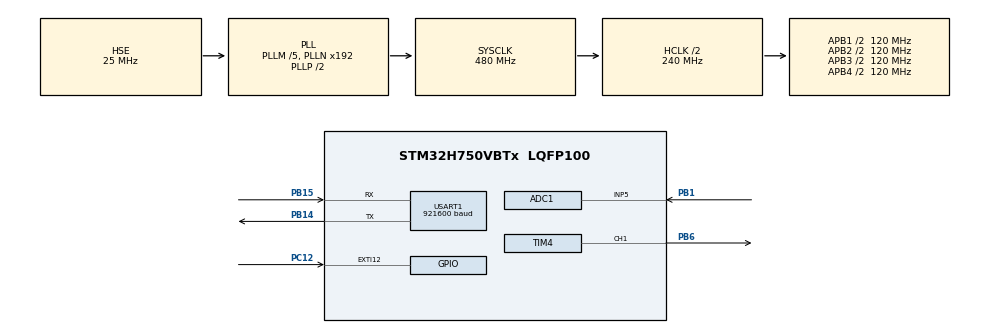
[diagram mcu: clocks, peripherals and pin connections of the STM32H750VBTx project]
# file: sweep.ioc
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ADC1.Channel-0\#ChannelRegularConversion=ADC_CHANNEL_5
ADC1.ClockPrescaler=ADC_CLOCK_ASYNC_DIV10
ADC1.ContinuousConvMode=ENABLE
ADC1.ConversionDataManagement=ADC_CONVERSIONDATA_DMA_ONESHOT
ADC1.EOCSelection=ADC_EOC_SEQ_CONV
ADC1.Mode=ADC_MODE_INDEPENDENT
ADC1.NbrOfConversionFlag=1
ADC1.OffsetNumber-0\#ChannelRegularConversion=ADC_OFFSET_NONE
ADC1.OffsetSignedSaturation-0\#ChannelRegularConversion=DISABLE
ADC1.Overrun=ADC_OVR_DATA_OVERWRITTEN
ADC1.Rank-0\#ChannelRegularConversion=1
ADC1.SamplingTime-0\#ChannelRegularConversion=ADC_SAMPLETIME_1CYCLE_5
ADC1.master=1
Dma.ADC1.0.Direction=DMA_PERIPH_TO_MEMORY
Dma.ADC1.0.EventEnable=DISABLE
Dma.ADC1.0.FIFOMode=DMA_FIFOMODE_DISABLE
Dma.ADC1.0.Instance=DMA1_Stream0
Dma.ADC1.0.MemDataAlignment=DMA_MDATAALIGN_WORD
Dma.ADC1.0.MemInc=DMA_MINC_ENABLE
Dma.ADC1.0.Mode=DMA_NORMAL
Dma.ADC1.0.PeriphDataAlignment=DMA_PDATAALIGN_WORD
Dma.ADC1.0.PeriphInc=DMA_PINC_DISABLE
Dma.ADC1.0.Polarity=HAL_DMAMUX_REQ_GEN_RISING
Dma.ADC1.0.Priority=DMA_PRIORITY_LOW
Dma.ADC1.0.RequestNumber=1
Dma.ADC1.0.SignalID=NONE
Dma.ADC1.0.SyncEnable=DISABLE
Dma.ADC1.0.SyncPolarity=HAL_DMAMUX_SYNC_NO_EVENT
Dma.ADC1.0.SyncRequestNumber=1
Dma.ADC1.0.SyncSignalID=NONE
Dma.Request0=ADC1
LPTIM1.ClockPrescaler=LPTIM_PRESCALER_DIV128
LPTIM2.ClockPrescaler=LPTIM_PRESCALER_DIV128
Mcu.Family=STM32H7
Mcu.Name=STM32H750VBTx
Mcu.Package=LQFP100
NVIC.DMA1_Stream0_IRQn=true\:0\:0\:true\:false\:true\:false\:true
NVIC.EXTI15_10_IRQn=true\:14\:0\:true\:false\:true\:true\:true
NVIC.LPTIM1_IRQn=true\:10\:0\:true\:false\:true\:true\:true
NVIC.LPTIM2_IRQn=true\:13\:0\:true\:false\:true\:true\:true
NVIC.PriorityGroup=NVIC_PRIORITYGROUP_4
PB1.Signal=ADCx_INP5
PB14.Mode=Asynchronous
PB14.Signal=USART1_TX
PB15.Mode=Asynchronous
PB15.Signal=USART1_RX
PB6.Signal=S_TIM4_CH1
PC12.Signal=GPXTI12
PH0-OSC_IN\ (PH0).Mode=HSE-External-Oscillator
PH0-OSC_IN\ (PH0).Signal=RCC_OSC_IN
PH1-OSC_OUT\ (PH1).Mode=HSE-External-Oscillator
PH1-OSC_OUT\ (PH1).Signal=RCC_OSC_OUT
ProjectManager.HeapSize=0x1000
ProjectManager.StackSize=0x20000
ProjectManager.TargetToolchain=MDK-ARM V5
RCC.ADCCLockSelection=RCC_ADCCLKSOURCE_PLL3
RCC.ADCFreq_Value=51200000
RCC.APB1Freq_Value=120000000
RCC.APB2Freq_Value=120000000
RCC.APB3Freq_Value=120000000
RCC.APB4Freq_Value=120000000
RCC.CKPERSourceSelection=RCC_CLKPSOURCE_CSI
RCC.CortexFreq_Value=480000000
RCC.D1PPRE=RCC_APB3_DIV2
RCC.D2PPRE1=RCC_APB1_DIV2
RCC.D2PPRE2=RCC_APB2_DIV2
RCC.D3PPRE=RCC_APB4_DIV2
RCC.DIVM1=5
RCC.DIVM2=25
RCC.DIVM3=25
RCC.DIVN1=192
RCC.DIVN2=240
RCC.DIVN3=256
RCC.DIVP3=10
RCC.DIVQ3=10
RCC.DIVR3=5
RCC.HCLKFreq_Value=240000000
RCC.HPRE=RCC_HCLK_DIV2
RCC.HRTIMCLockSelection=RCC_HRTIM1CLK_CPUCLK
RCC.LPTIM1CLockSelection=RCC_LPTIM1CLKSOURCE_CLKP
RCC.PLL2FRACN=0
RCC.PLL3FRACN=0
RCC.PLLFRACN=0
RCC.PLLSourceVirtual=RCC_PLLSOURCE_HSE
RCC.SPI123CLockSelection=RCC_SPI123CLKSOURCE_PLL2
RCC.SYSCLKFreq_VALUE=480000000
RCC.SYSCLKSource=RCC_SYSCLKSOURCE_PLLCLK
RCC.USBFreq_Value=480000000
SH.ADCx_INP5.0=ADC1_INP5,IN5-Single-Ended
SH.S_TIM4_CH1.0=TIM4_CH1,PWM Generation1 CH1
TIM4.Channel-PWM\ Generation1\ CH1=TIM_CHANNEL_1
TIM4.Prescaler=239
USART1.BaudRate=921600
USART1.Mode=MODE_TX
USART1.VirtualMode-Asynchronous=VM_ASYNC
VP_LPTIM1_VS_LPTIM_counterModeInternalClock.Mode=Counts__internal_clock_event_00
VP_LPTIM2_VS_LPTIM_counterModeInternalClock.Mode=Counts__internal_clock_event_00
VP_TIM4_VS_ClockSourceINT.Mode=Internal
VP_VREFBUF_V_VREFBUF.Mode=ExternalMode
board=custom

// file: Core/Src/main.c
/* USER CODE BEGIN Header */
/**
 ******************************************************************************
 * @file           : main.c
 * @brief          : Main program body
 ******************************************************************************
 * @attention
 *
 * <h2><center>&copy; Copyright (c) 2021 STMicroelectronics.
 * All rights reserved.</center></h2>
 *
 * This software component is licensed by ST under BSD 3-Clause license,
 * the "License"; You may not use this file except in compliance with the
 * License. You may obtain a copy of the License at:
 *                        opensource.org/licenses/BSD-3-Clause
 *
 ******************************************************************************
 */
/* USER CODE END Header */
#include "main.h"
#include "adc.h"
#include "dma.h"
#include "lptim.h"
#include "tim.h"
#include "usart.h"
#include "gpio.h"

/* USER CODE BEGIN Includes */
#include "string.h"
#include "debug.h"
#include "fft.h"
#include <stdlib.h>
#include "AD9959.h"
/* USER CODE END Includes */

/* USER CODE BEGIN PTD */
#define ADC_DATA_LENGTH 1024
uint32_t g_adc1_dma_data1[ADC_DATA_LENGTH];//定义adc1采集数据存放数组
volatile uint8_t g_adc1_dma_complete_flag = 0;	//adc1数据dma采集完成标志，在dma采集完成
float dataR[1024] = {0};
float dataI[1024] = {0};
float datafR[1024] = {0};
float datafI[1024] = {0};
int f_=11;
/* USER CODE END PTD */

void SystemClock_Config(void);
void PeriphCommonClock_Config(void);

/* USER CODE BEGIN 0 */
 int voltageArray[30]={
8640,8515,8273,8029,7785,
7553,7231,6863,6530,6266,
5995,5785,5550,5335,5143,
4934,4746,4618,4460,4300,
4150,4025,3888,3810,3705,
3605,3517,3430,3345,3255,
};
int search( int a[],int left,int right,int x)
{  //二分查找
	while(left<right)
	{
		int mid=(left+right)/2;
		if((right-left)<=2)
		{
			break;
		}
		if(a[mid]==x)return mid;
		else if(a[mid]>x)  left =mid+1;
		else if(a[mid]<x)  right=mid;
	}
	if((a[left]-x)<0)
	{
		return left+1;
	}
	if((x-a[right])<0)
	{
		return right+1;
	}
	if((a[left] - x)<(x-a[right]))
	{
		return left+1;
	}else
	{
		return right+1;
	}
//	return -1;  //找不到返回-1
}
void BUZZER_SetFrequency(uint16_t freq)
{
		//根据查表得到的频率值反推ARR寄存器的值，1MHz为TIM4的计数频率
		uint32_t Period = 1000000 / freq;
		//比较寄存器设为自动重载寄存器的1/2，这样占空比就是50%
		uint16_t Pulse  = Period  / 2;
    //写入TIM4的ARR寄存器
    TIM4->ARR  = Period;
    //写入TIM4的CCR1寄存器
    TIM4->CCR1 = Pulse;
}
void HAL_ADC_ConvCpltCallback(ADC_HandleTypeDef *hadc)
{
	if(hadc->Instance==ADC1)
	{
		g_adc1_dma_complete_flag = 1;//采集完成标志
		HAL_ADC_Stop_DMA(&hadc1);
	}
}
void HAL_GPIO_EXTI_Callback(uint16_t GPIO_Pin)
{
	HAL_LPTIM_Counter_Start_IT(&hlptim2,600);  //启动LPTIM1计数和其中断
}
void HAL_LPTIM_AutoReloadMatchCallback(LPTIM_HandleTypeDef *hlptim)
{
	HAL_LPTIM_Counter_Stop_IT(hlptim);  //停止LPTIM1计数和其中断
	if (hlptim == &hlptim2){
	 BUZZER_SetFrequency(1000);
	__HAL_LPTIM_AUTORELOAD_SET(&hlptim1,3905);
	BUZZER_SetFrequency(262);
	HAL_TIM_PWM_Start(&htim4,TIM_CHANNEL_1);
	HAL_Delay(200);
	HAL_TIM_PWM_Stop(&htim4,TIM_CHANNEL_1);
	ADC_fft_collect(500000);
	}
}

/* USER CODE END 0 */

int main(void)
{

  /* MCU Configuration--------------------------------------------------------*/

  /* Reset of all peripherals, Initializes the Flash interface and the Systick. */
  HAL_Init();

  /* USER CODE BEGIN Init */

//  HAL_SYSTICK_Config(HAL_RCC_GetHCLKFreq() / 1000);

  /* USER CODE END Init */

  /* Configure the system clock */
  SystemClock_Config();

/* Configure the peripherals common clocks */
  PeriphCommonClock_Config();

  /* USER CODE BEGIN SysInit */
  HAL_NVIC_SetPriority(SysTick_IRQn,1,0);
  /* USER CODE END SysInit */

  /* Initialize all configured peripherals */
  MX_GPIO_Init();
  MX_DMA_Init();
  MX_ADC1_Init();
  MX_USART1_UART_Init();
  MX_LPTIM1_Init();
  MX_LPTIM2_Init();
  MX_TIM4_Init();

  /* USER CODE BEGIN 2 */
	Init_AD9958();
	//开始输出PWM信号
	HAL_TIM_PWM_Start(&htim4, TIM_CHANNEL_1);
	//使能LPTIM1中断
	HAL_LPTIM_Counter_Start_IT(&hlptim1,3905);
	 printf("t0.txt=\"1 Ohm\"\xff\xff\xff");
  /* USER CODE END 2 */

  /* Infinite loop */
    while (1)
    {

    }
}

void SystemClock_Config(void)
{
  RCC_OscInitTypeDef RCC_OscInitStruct = {0};
  RCC_ClkInitTypeDef RCC_ClkInitStruct = {0};

  /** Supply configuration update enable
  */
  HAL_PWREx_ConfigSupply(PWR_LDO_SUPPLY);
  /** Configure the main internal regulator output voltage
  */
  __HAL_PWR_VOLTAGESCALING_CONFIG(PWR_REGULATOR_VOLTAGE_SCALE0);

  while(!__HAL_PWR_GET_FLAG(PWR_FLAG_VOSRDY)) {}
  /** Macro to configure the PLL clock source
  */
  __HAL_RCC_PLL_PLLSOURCE_CONFIG(RCC_PLLSOURCE_HSE);
  /** Initializes the RCC Oscillators according to the specified parameters
  * in the RCC_OscInitTypeDef structure.
  */
  RCC_OscInitStruct.OscillatorType = RCC_OSCILLATORTYPE_CSI|RCC_OSCILLATORTYPE_HSE;
  RCC_OscInitStruct.HSEState = RCC_HSE_ON;
  RCC_OscInitStruct.CSIState = RCC_CSI_ON;
  RCC_OscInitStruct.CSICalibrationValue = RCC_CSICALIBRATION_DEFAULT;
  RCC_OscInitStruct.PLL.PLLState = RCC_PLL_ON;
  RCC_OscInitStruct.PLL.PLLSource = RCC_PLLSOURCE_HSE;
  RCC_OscInitStruct.PLL.PLLM = 5;
  RCC_OscInitStruct.PLL.PLLN = 192;
  RCC_OscInitStruct.PLL.PLLP = 2;
  RCC_OscInitStruct.PLL.PLLQ = 2;
  RCC_OscInitStruct.PLL.PLLR = 2;
  RCC_OscInitStruct.PLL.PLLRGE = RCC_PLL1VCIRANGE_2;
  RCC_OscInitStruct.PLL.PLLVCOSEL = RCC_PLL1VCOWIDE;
  RCC_OscInitStruct.PLL.PLLFRACN = 0;
  if (HAL_RCC_OscConfig(&RCC_OscInitStruct) != HAL_OK)
  {
    Error_Handler();
  }
  /** Initializes the CPU, AHB and APB buses clocks
  */
  RCC_ClkInitStruct.ClockType = RCC_CLOCKTYPE_HCLK|RCC_CLOCKTYPE_SYSCLK
                              |RCC_CLOCKTYPE_PCLK1|RCC_CLOCKTYPE_PCLK2
                              |RCC_CLOCKTYPE_D3PCLK1|RCC_CLOCKTYPE_D1PCLK1;
  RCC_ClkInitStruct.SYSCLKSource = RCC_SYSCLKSOURCE_PLLCLK;
  RCC_ClkInitStruct.SYSCLKDivider = RCC_SYSCLK_DIV1;
  RCC_ClkInitStruct.AHBCLKDivider = RCC_HCLK_DIV2;
  RCC_ClkInitStruct.APB3CLKDivider = RCC_APB3_DIV2;
  RCC_ClkInitStruct.APB1CLKDivider = RCC_APB1_DIV2;
  RCC_ClkInitStruct.APB2CLKDivider = RCC_APB2_DIV2;
  RCC_ClkInitStruct.APB4CLKDivider = RCC_APB4_DIV2;

  if (HAL_RCC_ClockConfig(&RCC_ClkInitStruct, FLASH_LATENCY_4) != HAL_OK)
  {
    Error_Handler();
  }
}

void PeriphCommonClock_Config(void)
{
  RCC_PeriphCLKInitTypeDef PeriphClkInitStruct = {0};

  /** Initializes the peripherals clock
  */
  PeriphClkInitStruct.PeriphClockSelection = RCC_PERIPHCLK_CKPER;
  PeriphClkInitStruct.CkperClockSelection = RCC_CLKPSOURCE_CSI;
  if (HAL_RCCEx_PeriphCLKConfig(&PeriphClkInitStruct) != HAL_OK)
  {
    Error_Handler();
  }
}

/* USER CODE BEGIN 4 */
void ADC_fft_collect(uint32_t freq)
{
    uint32_t i = 0;
		Init_AD9958();
		AD9958_Set_Freq(freq);            // AD9958两个通道同时输出，单位：Hz
		AD9958_SetPhase2Channel(0, 0);     // 通道0、通道1相位调节输出，单位：度
    AD9958_SetAmp2Channel(1023, 1023); // 通道0、通道1幅值调节输出，，单位：DAC分辨率
    HAL_Delay(200);
		while((g_adc1_dma_data1[0]&0x0000ffff) == 0){
			HAL_ADC_Start_DMA(&hadc1,g_adc1_dma_data1,ADC_DATA_LENGTH);//ADC的dma开始采集
			 while (g_adc1_dma_complete_flag == 0)
			{
			}
			 g_adc1_dma_complete_flag = 0;
		}
    for (i = 0; i < 1024; i++)
    {
        dataR[i] = ((float)(g_adc1_dma_data1[i] & 0x0000ffff) - 32768) * 3.3f / 65536;
    }
		memset(dataI, 0, 1024 * sizeof(float));
    kfft(dataR, dataI, 1024, 10, datafR, datafI);
	  printf("main.t2.txt=\"%.3f mV\"\xff\xff\xff",dataR[0]/1024);
//		paperPages = search(voltageArray,0,29,adc_voltage_Z);
		memset(g_adc1_dma_data1,0,ADC_DATA_LENGTH);//清除数据
}

/* USER CODE END 4 */

void Error_Handler(void)
{
    __disable_irq();
    while (1)
    {
    }
}

/************************ (C) COPYRIGHT STMicroelectronics *****END OF FILE****/
